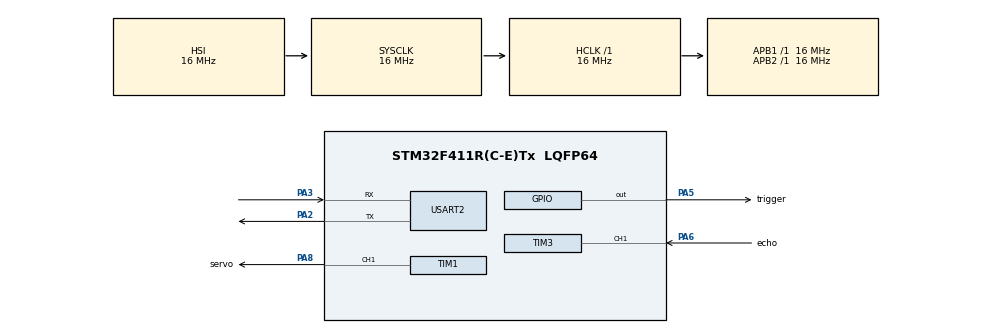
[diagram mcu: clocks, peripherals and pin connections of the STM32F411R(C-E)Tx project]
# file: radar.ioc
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Mcu.Family=STM32F4
Mcu.Name=STM32F411R(C-E)Tx
Mcu.Package=LQFP64
NVIC.PriorityGroup=NVIC_PRIORITYGROUP_4
NVIC.TIM3_IRQn=true\:0\:0\:false\:false\:true\:true\:true\:true
NVIC.USART2_IRQn=true\:0\:0\:false\:false\:true\:true\:true\:true
PA2.Mode=Asynchronous
PA2.Signal=USART2_TX
PA3.Mode=Asynchronous
PA3.Signal=USART2_RX
PA5.GPIO_Label=trigger
PA5.Signal=GPIO_Output
PA6.GPIO_Label=echo
PA6.Signal=S_TIM3_CH1
PA8.GPIO_Label=servo
PA8.Signal=S_TIM1_CH1
ProjectManager.HeapSize=0x200
ProjectManager.StackSize=0x400
ProjectManager.TargetToolchain=STM32CubeIDE
RCC.AHBFreq_Value=16000000
RCC.APB1Freq_Value=16000000
RCC.APB2Freq_Value=16000000
RCC.CortexFreq_Value=16000000
RCC.HSE_VALUE=25000000
RCC.HSI_VALUE=16000000
RCC.LSE_VALUE=32768
RCC.SYSCLKFreq_VALUE=16000000
RCC.VCOOutputFreq_Value=192000000
SH.S_TIM1_CH1.0=TIM1_CH1,PWM Generation1 CH1
SH.S_TIM3_CH1.0=TIM3_CH1,Input_Capture1_from_TI1
TIM1.Channel-PWM\ Generation1\ CH1=TIM_CHANNEL_1
TIM1.Period=20000-1
TIM1.Prescaler=16-1
TIM1.Pulse-PWM\ Generation1\ CH1=1500-1
TIM11.Prescaler=16-1
TIM3.Channel-Input_Capture1_from_TI1=TIM_CHANNEL_1
TIM3.Prescaler=16-1
USART2.VirtualMode=VM_ASYNC
VP_TIM11_VS_ClockSourceINT.Mode=Enable_Timer
VP_TIM1_VS_ClockSourceINT.Mode=Internal
VP_TIM3_VS_ClockSourceINT.Mode=Internal
board=custom

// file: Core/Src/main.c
/* USER CODE BEGIN Header */
/**
  ******************************************************************************
  * @file           : main.c
  * @brief          : Main program body
  ******************************************************************************
  * @attention
  *
  * Copyright (c) 2024 STMicroelectronics.
  * All rights reserved.
  *
  * This software is licensed under terms that can be found in the LICENSE file
  * in the root directory of this software component.
  * If no LICENSE file comes with this software, it is provided AS-IS.
  *
  ******************************************************************************
  */
/* USER CODE END Header */
#include "main.h"

/* USER CODE BEGIN Includes */
#include "uart.h"
/* USER CODE END Includes */

TIM_HandleTypeDef htim1;
TIM_HandleTypeDef htim3;
TIM_HandleTypeDef htim11;

UART_HandleTypeDef huart2;

void SystemClock_Config(void);
static void MX_GPIO_Init(void);
static void MX_TIM1_Init(void);
static void MX_TIM3_Init(void);
static void MX_TIM11_Init(void);
static void MX_USART2_UART_Init(void);

/* USER CODE BEGIN 0 */
long map(long x, long in_min, long in_max, long out_min, long out_max) {
  return (x - in_min) * (out_max - out_min) / (in_max - in_min) + out_min;
}

void delayUs(uint16_t time)
{
   htim11.Instance->CNT = 0;
   while(htim11.Instance->CNT < time);
}

uint32_t   IC_Val1 = 0;
uint32_t   IC_Val2 = 0;
uint32_t   Difference = 0;
uint32_t   Distance = 0;
uint8_t      IsFirstCaptured = 0;

void HAL_TIM_IC_CaptureCallback(TIM_HandleTypeDef *htim)
{
   if(htim->Channel == HAL_TIM_ACTIVE_CHANNEL_1)
   {
      //RISING INTERRUPT
      if(IsFirstCaptured == 0)
      {
         //read timer's value
         IC_Val1 = HAL_TIM_ReadCapturedValue(htim, TIM_CHANNEL_1);
         IsFirstCaptured = 1;
         //next interrupt setting, at falling
         __HAL_TIM_SET_CAPTUREPOLARITY(htim, TIM_CHANNEL_1, TIM_INPUTCHANNELPOLARITY_FALLING);
      }
      //FALLING INTERRUPT
      else if(IsFirstCaptured == 1)
      {
         //read timer's value
         IC_Val2 = HAL_TIM_ReadCapturedValue(htim, TIM_CHANNEL_1);
         htim->Instance->CNT = 0;
         //calculate difference value
         if(IC_Val2 > IC_Val1) Difference =IC_Val2 - IC_Val1;
         else if(IC_Val1 > IC_Val2) Difference = (0xffff - IC_Val1) + IC_Val2;
         // calculate movement in air
         Distance = Difference * 0.034 / 2;
         IsFirstCaptured = 0;

         __HAL_TIM_SET_CAPTUREPOLARITY(htim, TIM_CHANNEL_1, TIM_INPUTCHANNELPOLARITY_RISING);
         __HAL_TIM_DISABLE_IT(htim, TIM_IT_CC1);
      }
   }
}

uint32_t getDistance()
{
   HAL_GPIO_WritePin(trigger_GPIO_Port, trigger_Pin, 1);
   delayUs(10);
   HAL_GPIO_WritePin(trigger_GPIO_Port, trigger_Pin, 0);

   // active interrupt
   __HAL_TIM_ENABLE_IT(&htim3, TIM_IT_CC1);
   return Distance;
}
/* USER CODE END 0 */

int main(void)
{

  /* MCU Configuration--------------------------------------------------------*/

  /* Reset of all peripherals, Initializes the Flash interface and the Systick. */
  HAL_Init();

  /* Configure the system clock */
  SystemClock_Config();

  /* Initialize all configured peripherals */
  MX_GPIO_Init();
  MX_TIM1_Init();
  MX_TIM3_Init();
  MX_TIM11_Init();
  MX_USART2_UART_Init();
  /* USER CODE BEGIN 2 */
  initUart(&huart2);
  HAL_TIM_PWM_Start(&htim1, TIM_CHANNEL_1);
  HAL_TIM_IC_Start_IT(&htim3, TIM_CHANNEL_1);
  HAL_TIM_Base_Start(&htim11);
  /* USER CODE END 2 */

  /* Infinite loop */
  /* USER CODE BEGIN WHILE */
  while (1)
  {
    protocol_t txData,rxData;
    rxData = receivePacket();
    if(rxData.command == 'R'){
    	htim1.Instance->CCR1 = map(rxData.data,0,180,500,2300);
    	txData.command = 'A';
    	txData.data = getDistance();
    	transmitPacket(txData);
    }
  	/* USER CODE END WHILE */

  }
}

void SystemClock_Config(void)
{
  RCC_OscInitTypeDef RCC_OscInitStruct = {0};
  RCC_ClkInitTypeDef RCC_ClkInitStruct = {0};

  /** Configure the main internal regulator output voltage
  */
  __HAL_RCC_PWR_CLK_ENABLE();
  __HAL_PWR_VOLTAGESCALING_CONFIG(PWR_REGULATOR_VOLTAGE_SCALE1);

  /** Initializes the RCC Oscillators according to the specified parameters
  * in the RCC_OscInitTypeDef structure.
  */
  RCC_OscInitStruct.OscillatorType = RCC_OSCILLATORTYPE_HSI;
  RCC_OscInitStruct.HSIState = RCC_HSI_ON;
  RCC_OscInitStruct.HSICalibrationValue = RCC_HSICALIBRATION_DEFAULT;
  RCC_OscInitStruct.PLL.PLLState = RCC_PLL_NONE;
  if (HAL_RCC_OscConfig(&RCC_OscInitStruct) != HAL_OK)
  {
    Error_Handler();
  }

  /** Initializes the CPU, AHB and APB buses clocks
  */
  RCC_ClkInitStruct.ClockType = RCC_CLOCKTYPE_HCLK|RCC_CLOCKTYPE_SYSCLK
                              |RCC_CLOCKTYPE_PCLK1|RCC_CLOCKTYPE_PCLK2;
  RCC_ClkInitStruct.SYSCLKSource = RCC_SYSCLKSOURCE_HSI;
  RCC_ClkInitStruct.AHBCLKDivider = RCC_SYSCLK_DIV1;
  RCC_ClkInitStruct.APB1CLKDivider = RCC_HCLK_DIV1;
  RCC_ClkInitStruct.APB2CLKDivider = RCC_HCLK_DIV1;

  if (HAL_RCC_ClockConfig(&RCC_ClkInitStruct, FLASH_LATENCY_0) != HAL_OK)
  {
    Error_Handler();
  }
}

static void MX_TIM1_Init(void)
{

  TIM_ClockConfigTypeDef sClockSourceConfig = {0};
  TIM_MasterConfigTypeDef sMasterConfig = {0};
  TIM_OC_InitTypeDef sConfigOC = {0};
  TIM_BreakDeadTimeConfigTypeDef sBreakDeadTimeConfig = {0};

  htim1.Instance = TIM1;
  htim1.Init.Prescaler = 16-1;
  htim1.Init.CounterMode = TIM_COUNTERMODE_UP;
  htim1.Init.Period = 20000-1;
  htim1.Init.ClockDivision = TIM_CLOCKDIVISION_DIV1;
  htim1.Init.RepetitionCounter = 0;
  htim1.Init.AutoReloadPreload = TIM_AUTORELOAD_PRELOAD_DISABLE;
  if (HAL_TIM_Base_Init(&htim1) != HAL_OK)
  {
    Error_Handler();
  }
  sClockSourceConfig.ClockSource = TIM_CLOCKSOURCE_INTERNAL;
  if (HAL_TIM_ConfigClockSource(&htim1, &sClockSourceConfig) != HAL_OK)
  {
    Error_Handler();
  }
  if (HAL_TIM_PWM_Init(&htim1) != HAL_OK)
  {
    Error_Handler();
  }
  sMasterConfig.MasterOutputTrigger = TIM_TRGO_RESET;
  sMasterConfig.MasterSlaveMode = TIM_MASTERSLAVEMODE_DISABLE;
  if (HAL_TIMEx_MasterConfigSynchronization(&htim1, &sMasterConfig) != HAL_OK)
  {
    Error_Handler();
  }
  sConfigOC.OCMode = TIM_OCMODE_PWM1;
  sConfigOC.Pulse = 1500-1;
  sConfigOC.OCPolarity = TIM_OCPOLARITY_HIGH;
  sConfigOC.OCNPolarity = TIM_OCNPOLARITY_HIGH;
  sConfigOC.OCFastMode = TIM_OCFAST_DISABLE;
  sConfigOC.OCIdleState = TIM_OCIDLESTATE_RESET;
  sConfigOC.OCNIdleState = TIM_OCNIDLESTATE_RESET;
  if (HAL_TIM_PWM_ConfigChannel(&htim1, &sConfigOC, TIM_CHANNEL_1) != HAL_OK)
  {
    Error_Handler();
  }
  sBreakDeadTimeConfig.OffStateRunMode = TIM_OSSR_DISABLE;
  sBreakDeadTimeConfig.OffStateIDLEMode = TIM_OSSI_DISABLE;
  sBreakDeadTimeConfig.LockLevel = TIM_LOCKLEVEL_OFF;
  sBreakDeadTimeConfig.DeadTime = 0;
  sBreakDeadTimeConfig.BreakState = TIM_BREAK_DISABLE;
  sBreakDeadTimeConfig.BreakPolarity = TIM_BREAKPOLARITY_HIGH;
  sBreakDeadTimeConfig.AutomaticOutput = TIM_AUTOMATICOUTPUT_DISABLE;
  if (HAL_TIMEx_ConfigBreakDeadTime(&htim1, &sBreakDeadTimeConfig) != HAL_OK)
  {
    Error_Handler();
  }
  HAL_TIM_MspPostInit(&htim1);

}

static void MX_TIM3_Init(void)
{

  TIM_ClockConfigTypeDef sClockSourceConfig = {0};
  TIM_MasterConfigTypeDef sMasterConfig = {0};
  TIM_IC_InitTypeDef sConfigIC = {0};

  htim3.Instance = TIM3;
  htim3.Init.Prescaler = 16-1;
  htim3.Init.CounterMode = TIM_COUNTERMODE_UP;
  htim3.Init.Period = 65535;
  htim3.Init.ClockDivision = TIM_CLOCKDIVISION_DIV1;
  htim3.Init.AutoReloadPreload = TIM_AUTORELOAD_PRELOAD_DISABLE;
  if (HAL_TIM_Base_Init(&htim3) != HAL_OK)
  {
    Error_Handler();
  }
  sClockSourceConfig.ClockSource = TIM_CLOCKSOURCE_INTERNAL;
  if (HAL_TIM_ConfigClockSource(&htim3, &sClockSourceConfig) != HAL_OK)
  {
    Error_Handler();
  }
  if (HAL_TIM_IC_Init(&htim3) != HAL_OK)
  {
    Error_Handler();
  }
  sMasterConfig.MasterOutputTrigger = TIM_TRGO_RESET;
  sMasterConfig.MasterSlaveMode = TIM_MASTERSLAVEMODE_DISABLE;
  if (HAL_TIMEx_MasterConfigSynchronization(&htim3, &sMasterConfig) != HAL_OK)
  {
    Error_Handler();
  }
  sConfigIC.ICPolarity = TIM_INPUTCHANNELPOLARITY_RISING;
  sConfigIC.ICSelection = TIM_ICSELECTION_DIRECTTI;
  sConfigIC.ICPrescaler = TIM_ICPSC_DIV1;
  sConfigIC.ICFilter = 0;
  if (HAL_TIM_IC_ConfigChannel(&htim3, &sConfigIC, TIM_CHANNEL_1) != HAL_OK)
  {
    Error_Handler();
  }

}

static void MX_TIM11_Init(void)
{

  htim11.Instance = TIM11;
  htim11.Init.Prescaler = 16-1;
  htim11.Init.CounterMode = TIM_COUNTERMODE_UP;
  htim11.Init.Period = 65535;
  htim11.Init.ClockDivision = TIM_CLOCKDIVISION_DIV1;
  htim11.Init.AutoReloadPreload = TIM_AUTORELOAD_PRELOAD_DISABLE;
  if (HAL_TIM_Base_Init(&htim11) != HAL_OK)
  {
    Error_Handler();
  }

}

static void MX_USART2_UART_Init(void)
{

  huart2.Instance = USART2;
  huart2.Init.BaudRate = 115200;
  huart2.Init.WordLength = UART_WORDLENGTH_8B;
  huart2.Init.StopBits = UART_STOPBITS_1;
  huart2.Init.Parity = UART_PARITY_NONE;
  huart2.Init.Mode = UART_MODE_TX_RX;
  huart2.Init.HwFlowCtl = UART_HWCONTROL_NONE;
  huart2.Init.OverSampling = UART_OVERSAMPLING_16;
  if (HAL_UART_Init(&huart2) != HAL_OK)
  {
    Error_Handler();
  }

}

static void MX_GPIO_Init(void)
{
  GPIO_InitTypeDef GPIO_InitStruct = {0};

  /* GPIO Ports Clock Enable */
  __HAL_RCC_GPIOA_CLK_ENABLE();

  /*Configure GPIO pin Output Level */
  HAL_GPIO_WritePin(trigger_GPIO_Port, trigger_Pin, GPIO_PIN_RESET);

  /*Configure GPIO pin : trigger_Pin */
  GPIO_InitStruct.Pin = trigger_Pin;
  GPIO_InitStruct.Mode = GPIO_MODE_OUTPUT_PP;
  GPIO_InitStruct.Pull = GPIO_NOPULL;
  GPIO_InitStruct.Speed = GPIO_SPEED_FREQ_LOW;
  HAL_GPIO_Init(trigger_GPIO_Port, &GPIO_InitStruct);

}

void Error_Handler(void)
{
  __disable_irq();
  while (1)
  {
  }
}
